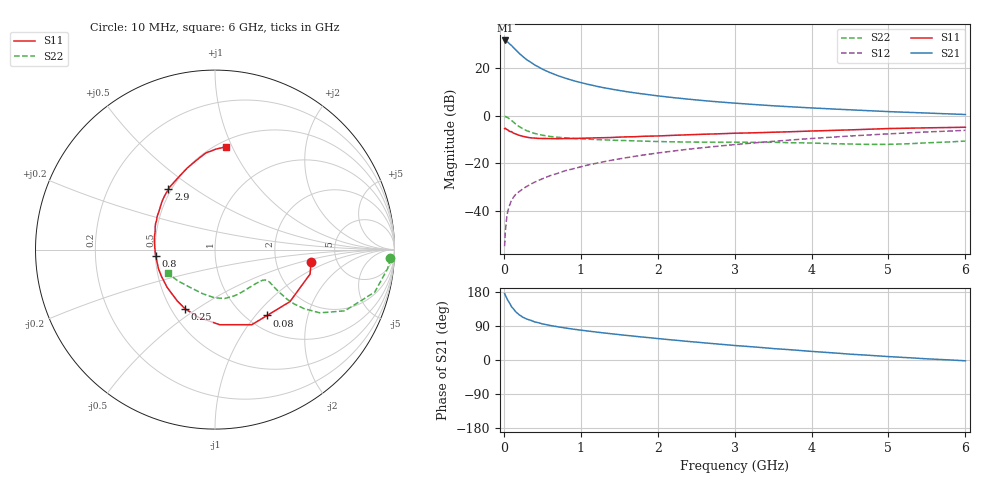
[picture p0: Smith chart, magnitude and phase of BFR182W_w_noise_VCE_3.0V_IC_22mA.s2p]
! Infineon Technologies  Discrete & RF Semiconductors
! BFR182W
! VCE =  3.0 V,  IC =  22 mA
! Common Emitter S-Parameters:  Jan 2017
# GHz  S  MA  R  50
!  f  S11  S21  S12  S22
! GHz  MAG  ANG  MAG  ANG  MAG  ANG  MAG  ANG
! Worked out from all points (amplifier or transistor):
!   77 points, 10 MHz to 6 GHz, reference 50 ohm
!   highest |S21| = 31.8 dB at 20 MHz (marker M1)
!   |S21| within 3 dB of that: start of sweep to 125.7 MHz
!   unconditionally stable (mu >= 1): 709.3 MHz to 2.323 GHz
!   at 130 MHz: K = 0.45, MSG = 31.3 dB, |S12| = -34.1 dB
!   at 2.2 GHz: K = 1.01, MAG = 10.7 dB, |S12| = -14.8 dB
!   at 6 GHz: K = 0.87, MSG = 3.3 dB, |S12| = -6.1 dB
!   lowest NFmin = 1.47 dB at 450 MHz
!   S11 on the Smith chart (normalised r, x): 10 MHz: 3.21, -0.61; 80 MHz: 1.22, -1.15; 250 MHz: 0.59, -0.45; 800 MHz: 0.50, -0.04; 2.9 GHz: 0.48, +0.40; 6 GHz: 0.55, +0.94
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0.01  0.5396 -7.2  38.43 175.2  0.0018 77.1  0.9788 -2.9
0.02  0.5471 -14.4  38.73 170.8  0.0037 95.3  0.9679 -6.2
0.05  0.5083 -34.8  35.93 157.9  0.0096 80.2  0.9212 -14.9
0.08  0.4678 -51.7  32.21 148.2  0.0138 71.9  0.8445 -20.8
0.1  0.466 -63.9  30.34 140.5  0.0167 68.7  0.799 -25.3
0.15  0.4194 -86.4  24.96 128.1  0.0218 65.3  0.6815 -31.1
0.2  0.389 -103.2  20.73 119.3  0.0254 63.7  0.5944 -33.6
0.25  0.3699 -116.6  17.59 112.6  0.0292 63.6  0.5315 -34.5
0.3  0.3546 -126.6  15.12 107.9  0.0328 63.9  0.4843 -34.5
0.4  0.3396 -141.8  11.84 100.6  0.0401 65.5  0.4265 -33.5
0.5  0.3336 -153.0  9.645 95.4  0.0471 67.6  0.3909 -32.4
0.6  0.3324 -161.4  8.154 91.2  0.0549 68.3  0.3691 -31.5
0.7  0.3302 -168.3  7.043 87.7  0.0615 70.0  0.3539 -30.8
0.8  0.3328 -174.0  6.214 84.4  0.0701 70.6  0.3432 -30.7
1.1  0.3405 172.5  4.591 76.3  0.0929 70.8  0.3224 -31.8
1.5  0.3566 159.2  3.425 67.0  0.124 69.9  0.3038 -36.1
2.1  0.3826 143.6  2.529 54.7  0.1731 66.6  0.2858 -47.1
2.9  0.4247 127.6  1.907 40.1  0.2396 60.9  0.2791 -65.7
3.1  0.4339 123.8  1.805 36.8  0.2564 59.2  0.2779 -70.3
4.1  0.4842 107.6  1.442 21.3  0.342 50.4  0.2644 -93.4
5.1  0.5438 94.3  1.211 7.9  0.4251 40.5  0.2538 -126.5
6  0.5756 84.1  1.067 -2.1  0.495 31.1  0.2943 -153.6
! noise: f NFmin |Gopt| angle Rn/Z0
0.45  1.47  0.13  -172  0.15
0.9  1.55  0.14  -167  0.15
1.9  2.06  0.29  -141  0.17
2.4  2.34  0.31  -127  0.27
